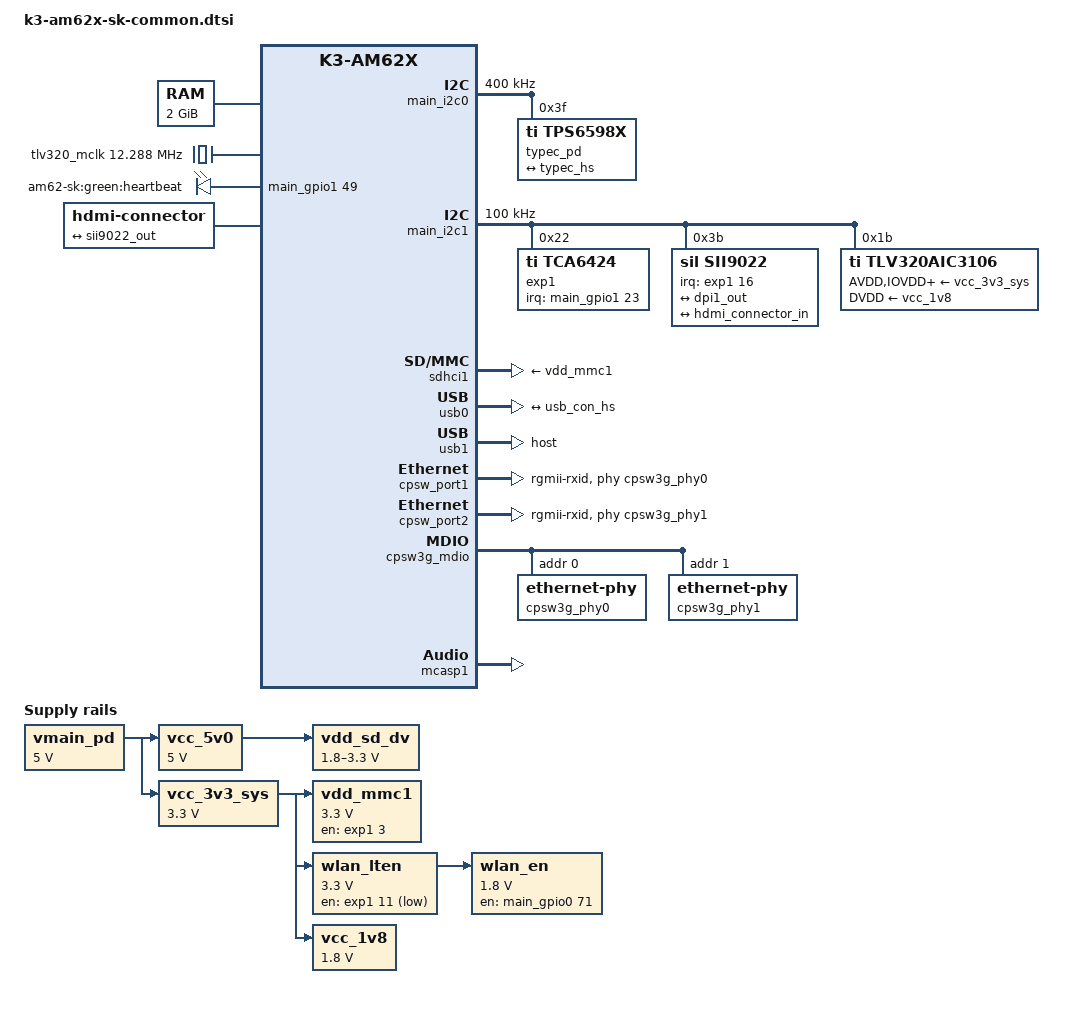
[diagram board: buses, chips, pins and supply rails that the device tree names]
// SPDX-License-Identifier: GPL-2.0
/*
 * Common dtsi for AM62x SK and derivatives
 *
 * Copyright (C) 2021-2022 Texas Instruments Incorporated - https://www.ti.com/
 */

/ {
	aliases {
		serial2 = &main_uart0;
		mmc0 = &sdhci0;
		mmc1 = &sdhci1;
		mmc2 = &sdhci2;
		spi0 = &ospi0;
		usb0 = &usb0;
		usb1 = &usb1;
		ethernet0 = &cpsw_port1;
		ethernet1 = &cpsw_port2;
	};

	chosen {
		stdout-path = "serial2:115200n8";
		bootargs = "console=ttyS2,115200n8 earlycon=ns16550a,mmio32,0x02800000";
	};

	opp-table {
		/* Add 1.4GHz OPP for am625-sk board. Requires VDD_CORE to be at 0.85V */
		opp-1400000000 {
			opp-hz = /bits/ 64 <1400000000>;
			opp-supported-hw = <0x01 0x0004>;
			clock-latency-ns = <6000000>;
		};
	};

	memory@80000000 {
		device_type = "memory";
		/* 2G RAM */
		reg = <0x00000000 0x80000000 0x00000000 0x80000000>;

	};

	reserved-memory {
		#address-cells = <2>;
		#size-cells = <2>;
		ranges;

		secure_tfa_ddr: tfa@9e780000 {
			reg = <0x00 0x9e780000 0x00 0x80000>;
			alignment = <0x1000>;
			no-map;
		};

		secure_ddr: optee@9e800000 {
			reg = <0x00 0x9e800000 0x00 0x01800000>; /* for OP-TEE */
			alignment = <0x1000>;
			no-map;
		};

		wkup_r5fss0_core0_dma_memory_region: r5f-dma-memory@9db00000 {
			compatible = "shared-dma-pool";
			reg = <0x00 0x9db00000 0x00 0xc00000>;
			no-map;
		};

		mcu_m4fss_dma_memory_region: m4f-dma-memory@9cb00000 {
			compatible = "shared-dma-pool";
			reg = <0x00 0x9cb00000 0x00 0x100000>;
			no-map;
		};

		mcu_m4fss_memory_region: m4f-memory@9cc00000 {
			compatible = "shared-dma-pool";
			reg = <0x00 0x9cc00000 0x00 0xf00000>;
			no-map;
		};

		lpm_ctx_ddr: lpm-memory@a1000000 {
			reg = <0x00 0xa1000000 0x00 0x40000>;
			alignment = <0x1000>;
		};
	};

	vmain_pd: regulator-0 {
		/* TPS65988 PD CONTROLLER OUTPUT */
		compatible = "regulator-fixed";
		regulator-name = "vmain_pd";
		regulator-min-microvolt = <5000000>;
		regulator-max-microvolt = <5000000>;
		regulator-always-on;
		regulator-boot-on;
	};

	vcc_5v0: regulator-1 {
		/* Output of TPS630702 */
		compatible = "regulator-fixed";
		regulator-name = "vcc_5v0";
		regulator-min-microvolt = <5000000>;
		regulator-max-microvolt = <5000000>;
		vin-supply = <&vmain_pd>;
		regulator-always-on;
		regulator-boot-on;
	};

	vcc_3v3_sys: regulator-2 {
		/* output of LM61460-Q1 */
		compatible = "regulator-fixed";
		regulator-name = "vcc_3v3_sys";
		regulator-min-microvolt = <3300000>;
		regulator-max-microvolt = <3300000>;
		vin-supply = <&vmain_pd>;
		regulator-always-on;
		regulator-boot-on;
	};

	vdd_mmc1: regulator-3 {
		/* TPS22918DBVR */
		compatible = "regulator-fixed";
		regulator-name = "vdd_mmc1";
		regulator-min-microvolt = <3300000>;
		regulator-max-microvolt = <3300000>;
		regulator-boot-on;
		enable-active-high;
		vin-supply = <&vcc_3v3_sys>;
		gpio = <&exp1 3 GPIO_ACTIVE_HIGH>;
	};

	vdd_sd_dv: regulator-4 {
		/* Output of TLV71033 */
		compatible = "regulator-gpio";
		regulator-name = "tlv71033";
		pinctrl-names = "default";
		pinctrl-0 = <&vdd_sd_dv_pins_default>;
		regulator-min-microvolt = <1800000>;
		regulator-max-microvolt = <3300000>;
		regulator-boot-on;
		vin-supply = <&vcc_5v0>;
		gpios = <&main_gpio0 31 GPIO_ACTIVE_HIGH>;
		states = <1800000 0x0>,
			 <3300000 0x1>;
	};

	wlan_lten: regulator-5 {
		compatible = "regulator-fixed";
		regulator-name = "wlan_lten";
		regulator-min-microvolt = <3300000>;
		regulator-max-microvolt = <3300000>;
		regulator-always-on;
		vin-supply = <&vcc_3v3_sys>;
		gpios = <&exp1 11 GPIO_ACTIVE_LOW>;
	};

	wlan_en: regulator-6 {
		/* OUTPUT of SN74AVC2T244DQMR */
		compatible = "regulator-fixed";
		regulator-name = "wlan_en";
		regulator-min-microvolt = <1800000>;
		regulator-max-microvolt = <1800000>;
		enable-active-high;
		regulator-always-on;
		vin-supply = <&wlan_lten>;
		gpios = <&main_gpio0 71 GPIO_ACTIVE_HIGH>;
		pinctrl-names = "default";
		pinctrl-0 = <&wlan_en_pins_default>;
	};

	vcc_1v8: regulator-7 {
		/* output of TPS6282518DMQ */
		compatible = "regulator-fixed";
		regulator-name = "vcc_1v8";
		regulator-min-microvolt = <1800000>;
		regulator-max-microvolt = <1800000>;
		vin-supply = <&vcc_3v3_sys>;
		regulator-always-on;
		regulator-boot-on;
	};

	tlv320_mclk: clk-0 {
		#clock-cells = <0>;
		compatible = "fixed-clock";
		clock-frequency = <12288000>;
	};

	sound {
		compatible = "simple-audio-card";
		simple-audio-card,name = "AM62x-SKEVM";
		simple-audio-card,widgets =
			"Headphone", "Headphone Jack";
		simple-audio-card,routing =
			"Headphone Jack",	"HPLOUT",
			"Headphone Jack",	"HPROUT";
		simple-audio-card,format = "dsp_b";
		simple-audio-card,bitclock-master = <&sound_master>;
		simple-audio-card,frame-master = <&sound_master>;
		simple-audio-card,bitclock-inversion;

		simple-audio-card,cpu {
			sound-dai = <&mcasp1>;
		};

		sound_master: simple-audio-card,codec {
			sound-dai = <&tlv320aic3106>;
			clocks = <&tlv320_mclk>;
		};
	};

	leds {
		compatible = "gpio-leds";
		pinctrl-names = "default";
		pinctrl-0 = <&usr_led_pins_default>;

		led-0 {
			label = "am62-sk:green:heartbeat";
			gpios = <&main_gpio1 49 GPIO_ACTIVE_HIGH>;
			linux,default-trigger = "heartbeat";
			function = LED_FUNCTION_HEARTBEAT;
			default-state = "off";
		};
	};

	hdmi_mstrclk: hdmi-mstrclk {
		compatible = "fixed-clock";
		#clock-cells = <0>;
		clock-frequency = <12288000>;
	};

	hdmi: connector {
		compatible = "hdmi-connector";
		label = "hdmi";
		type = "a";
		port {
			hdmi_connector_in: endpoint {
				remote-endpoint = <&sii9022_out>;
			};
		};
	};
};

&main_pmx0 {
	main_uart0_pins_default: main-uart0-pins-default {
		pinctrl-single,pins = <
			AM62X_IOPAD(0x1c8, PIN_INPUT, 0) /* (D14) UART0_RXD */
			AM62X_IOPAD(0x1cc, PIN_OUTPUT, 0) /* (E14) UART0_TXD */
		>;
	};

	main_i2c0_pins_default: main-i2c0-pins-default {
		pinctrl-single,pins = <
			AM62X_IOPAD(0x1e0, PIN_INPUT_PULLUP, 0) /* (B16) I2C0_SCL */
			AM62X_IOPAD(0x1e4, PIN_INPUT_PULLUP, 0) /* (A16) I2C0_SDA */
		>;
	};

	main_i2c1_pins_default: main-i2c1-pins-default {
		pinctrl-single,pins = <
			AM62X_IOPAD(0x1e8, PIN_INPUT_PULLUP, 0) /* (B17) I2C1_SCL */
			AM62X_IOPAD(0x1ec, PIN_INPUT_PULLUP, 0) /* (A17) I2C1_SDA */
		>;
	};

	main_i2c2_pins_default: main-i2c2-pins-default {
		pinctrl-single,pins = <
			AM62X_IOPAD(0x0b0, PIN_INPUT_PULLUP, 1) /* (K22) GPMC0_CSn2.I2C2_SCL */
			AM62X_IOPAD(0x0b4, PIN_INPUT_PULLUP, 1) /* (K24) GPMC0_CSn3.I2C2_SDA */
		>;
	};

	main_mmc0_pins_default: main-mmc0-pins-default {
		pinctrl-single,pins = <
			AM62X_IOPAD(0x220, PIN_INPUT, 0) /* (Y3) MMC0_CMD */
			AM62X_IOPAD(0x218, PIN_INPUT, 0) /* (AB1) MMC0_CLK */
			AM62X_IOPAD(0x214, PIN_INPUT, 0) /* (AA2) MMC0_DAT0 */
			AM62X_IOPAD(0x210, PIN_INPUT, 0) /* (AA1) MMC0_DAT1 */
			AM62X_IOPAD(0x20c, PIN_INPUT, 0) /* (AA3) MMC0_DAT2 */
			AM62X_IOPAD(0x208, PIN_INPUT, 0) /* (Y4) MMC0_DAT3 */
			AM62X_IOPAD(0x204, PIN_INPUT, 0) /* (AB2) MMC0_DAT4 */
			AM62X_IOPAD(0x200, PIN_INPUT, 0) /* (AC1) MMC0_DAT5 */
			AM62X_IOPAD(0x1fc, PIN_INPUT, 0) /* (AD2) MMC0_DAT6 */
			AM62X_IOPAD(0x1f8, PIN_INPUT, 0) /* (AC2) MMC0_DAT7 */
		>;
	};

	main_mmc1_pins_default: main-mmc1-pins-default {
		pinctrl-single,pins = <
			AM62X_IOPAD(0x23c, PIN_INPUT, 0) /* (A21) MMC1_CMD */
			AM62X_IOPAD(0x234, PIN_INPUT, 0) /* (B22) MMC1_CLK */
			AM62X_IOPAD(0x230, PIN_INPUT, 0) /* (A22) MMC1_DAT0 */
			AM62X_IOPAD(0x22c, PIN_INPUT, 0) /* (B21) MMC1_DAT1 */
			AM62X_IOPAD(0x228, PIN_INPUT, 0) /* (C21) MMC1_DAT2 */
			AM62X_IOPAD(0x224, PIN_INPUT, 0) /* (D22) MMC1_DAT3 */
			AM62X_IOPAD(0x240, PIN_INPUT, 0) /* (D17) MMC1_SDCD */
		>;
	};

	wlan_en_pins_default: wlan-en-pins-default {
		pinctrl-single,pins = <
			AM62X_IOPAD(0x124, PIN_OUTPUT, 7) /* (A23) MMC2_SDCD.GPIO0_71 */
		>;
	};

	main_mmc2_pins_default: main-mmc2-pins-default {
		pinctrl-single,pins = <
			AM62X_IOPAD(0x120, PIN_INPUT, 0) /* (C24) MMC2_CMD */
			AM62X_IOPAD(0x118, PIN_INPUT, 0) /* (D25) MMC2_CLK */
			AM62X_IOPAD(0x114, PIN_INPUT, 0) /* (B24) MMC2_DAT0 */
			AM62X_IOPAD(0x110, PIN_INPUT, 0) /* (C25) MMC2_DAT1 */
			AM62X_IOPAD(0x10c, PIN_INPUT, 0) /* (E23) MMC2_DAT2 */
			AM62X_IOPAD(0x108, PIN_INPUT, 0) /* (D24) MMC2_DAT3 */
			AM62X_IOPAD(0x11c, PIN_INPUT, 0) /* (#N/A) MMC2_CLKB */
		>;
	};

	main_wlirq_pins_default: main-wlirq-pins-default {
		pinctrl-single,pins = <
			AM62X_IOPAD(0x128, PIN_INPUT, 7) /* (B23) MMC2_SDWP.GPIO0_72 */
		>;
	};

	usr_led_pins_default: usr-led-pins-default {
		pinctrl-single,pins = <
			AM62X_IOPAD(0x244, PIN_OUTPUT, 7) /* (C17) MMC1_SDWP.GPIO1_49 */
		>;
	};

	main_mdio1_pins_default: main-mdio1-pins-default {
		pinctrl-single,pins = <
			AM62X_IOPAD(0x160, PIN_OUTPUT, 0) /* (AD24) MDIO0_MDC */
			AM62X_IOPAD(0x15c, PIN_INPUT, 0) /* (AB22) MDIO0_MDIO */
		>;
	};

	main_rgmii1_pins_default: main-rgmii1-pins-default {
		pinctrl-single,pins = <
			AM62X_IOPAD(0x14c, PIN_INPUT, 0) /* (AB17) RGMII1_RD0 */
			AM62X_IOPAD(0x150, PIN_INPUT, 0) /* (AC17) RGMII1_RD1 */
			AM62X_IOPAD(0x154, PIN_INPUT, 0) /* (AB16) RGMII1_RD2 */
			AM62X_IOPAD(0x158, PIN_INPUT, 0) /* (AA15) RGMII1_RD3 */
			AM62X_IOPAD(0x148, PIN_INPUT, 0) /* (AD17) RGMII1_RXC */
			AM62X_IOPAD(0x144, PIN_INPUT, 0) /* (AE17) RGMII1_RX_CTL */
			AM62X_IOPAD(0x134, PIN_OUTPUT, 0) /* (AE20) RGMII1_TD0 */
			AM62X_IOPAD(0x138, PIN_OUTPUT, 0) /* (AD20) RGMII1_TD1 */
			AM62X_IOPAD(0x13c, PIN_OUTPUT, 0) /* (AE18) RGMII1_TD2 */
			AM62X_IOPAD(0x140, PIN_OUTPUT, 0) /* (AD18) RGMII1_TD3 */
			AM62X_IOPAD(0x130, PIN_OUTPUT, 0) /* (AE19) RGMII1_TXC */
			AM62X_IOPAD(0x12c, PIN_OUTPUT, 0) /* (AD19) RGMII1_TX_CTL */
		>;
	};

	main_rgmii2_pins_default: main-rgmii2-pins-default {
		pinctrl-single,pins = <
			AM62X_IOPAD(0x184, PIN_INPUT, 0) /* (AE23) RGMII2_RD0 */
			AM62X_IOPAD(0x188, PIN_INPUT, 0) /* (AB20) RGMII2_RD1 */
			AM62X_IOPAD(0x18c, PIN_INPUT, 0) /* (AC21) RGMII2_RD2 */
			AM62X_IOPAD(0x190, PIN_INPUT, 0) /* (AE22) RGMII2_RD3 */
			AM62X_IOPAD(0x180, PIN_INPUT, 0) /* (AD23) RGMII2_RXC */
			AM62X_IOPAD(0x17c, PIN_INPUT, 0) /* (AD22) RGMII2_RX_CTL */
			AM62X_IOPAD(0x16c, PIN_OUTPUT, 0) /* (Y18) RGMII2_TD0 */
			AM62X_IOPAD(0x170, PIN_OUTPUT, 0) /* (AA18) RGMII2_TD1 */
			AM62X_IOPAD(0x174, PIN_OUTPUT, 0) /* (AD21) RGMII2_TD2 */
			AM62X_IOPAD(0x178, PIN_OUTPUT, 0) /* (AC20) RGMII2_TD3 */
			AM62X_IOPAD(0x168, PIN_OUTPUT, 0) /* (AE21) RGMII2_TXC */
			AM62X_IOPAD(0x164, PIN_OUTPUT, 0) /* (AA19) RGMII2_TX_CTL */
		>;
	};

	ospi0_pins_default: ospi0-pins-default {
		pinctrl-single,pins = <
			AM62X_IOPAD(0x000, PIN_OUTPUT, 0) /* (H24) OSPI0_CLK */
			AM62X_IOPAD(0x02c, PIN_OUTPUT, 0) /* (F23) OSPI0_CSn0 */
			AM62X_IOPAD(0x00c, PIN_INPUT, 0) /* (E25) OSPI0_D0 */
			AM62X_IOPAD(0x010, PIN_INPUT, 0) /* (G24) OSPI0_D1 */
			AM62X_IOPAD(0x014, PIN_INPUT, 0) /* (F25) OSPI0_D2 */
			AM62X_IOPAD(0x018, PIN_INPUT, 0) /* (F24) OSPI0_D3 */
			AM62X_IOPAD(0x01c, PIN_INPUT, 0) /* (J23) OSPI0_D4 */
			AM62X_IOPAD(0x020, PIN_INPUT, 0) /* (J25) OSPI0_D5 */
			AM62X_IOPAD(0x024, PIN_INPUT, 0) /* (H25) OSPI0_D6 */
			AM62X_IOPAD(0x028, PIN_INPUT, 0) /* (J22) OSPI0_D7 */
			AM62X_IOPAD(0x008, PIN_INPUT, 0) /* (J24) OSPI0_DQS */
		>;
	};

	main_dss0_pins_default: main-dss0-pins-default {
		pinctrl-single,pins = <
			AM62X_IOPAD(0x0100, PIN_OUTPUT, 0) /* (AC25) VOUT0_VSYNC */
			AM62X_IOPAD(0x00f8, PIN_OUTPUT, 0) /* (AB24) VOUT0_HSYNC */
			AM62X_IOPAD(0x0104, PIN_OUTPUT, 0) /* (AC24) VOUT0_PCLK */
			AM62X_IOPAD(0x00fc, PIN_OUTPUT, 0) /* (Y20) VOUT0_DE */
			AM62X_IOPAD(0x00b8, PIN_OUTPUT, 0) /* (U22) VOUT0_DATA0 */
			AM62X_IOPAD(0x00bc, PIN_OUTPUT, 0) /* (V24) VOUT0_DATA1 */
			AM62X_IOPAD(0x00c0, PIN_OUTPUT, 0) /* (W25) VOUT0_DATA2 */
			AM62X_IOPAD(0x00c4, PIN_OUTPUT, 0) /* (W24) VOUT0_DATA3 */
			AM62X_IOPAD(0x00c8, PIN_OUTPUT, 0) /* (Y25) VOUT0_DATA4 */
			AM62X_IOPAD(0x00cc, PIN_OUTPUT, 0) /* (Y24) VOUT0_DATA5 */
			AM62X_IOPAD(0x00d0, PIN_OUTPUT, 0) /* (Y23) VOUT0_DATA6 */
			AM62X_IOPAD(0x00d4, PIN_OUTPUT, 0) /* (AA25) VOUT0_DATA7 */
			AM62X_IOPAD(0x00d8, PIN_OUTPUT, 0) /* (V21) VOUT0_DATA8 */
			AM62X_IOPAD(0x00dc, PIN_OUTPUT, 0) /* (W21) VOUT0_DATA9 */
			AM62X_IOPAD(0x00e0, PIN_OUTPUT, 0) /* (V20) VOUT0_DATA10 */
			AM62X_IOPAD(0x00e4, PIN_OUTPUT, 0) /* (AA23) VOUT0_DATA11 */
			AM62X_IOPAD(0x00e8, PIN_OUTPUT, 0) /* (AB25) VOUT0_DATA12 */
			AM62X_IOPAD(0x00ec, PIN_OUTPUT, 0) /* (AA24) VOUT0_DATA13 */
			AM62X_IOPAD(0x00f0, PIN_OUTPUT, 0) /* (Y22) VOUT0_DATA14 */
			AM62X_IOPAD(0x00f4, PIN_OUTPUT, 0) /* (AA21) VOUT0_DATA15 */
			AM62X_IOPAD(0x005c, PIN_OUTPUT, 1) /* (R24) GPMC0_AD8.VOUT0_DATA16 */
			AM62X_IOPAD(0x0060, PIN_OUTPUT, 1) /* (R25) GPMC0_AD9.VOUT0_DATA17 */
			AM62X_IOPAD(0x0064, PIN_OUTPUT, 1) /* (T25) GPMC0_AD10.VOUT0_DATA18 */
			AM62X_IOPAD(0x0068, PIN_OUTPUT, 1) /* (R21) GPMC0_AD11.VOUT0_DATA19 */
			AM62X_IOPAD(0x006c, PIN_OUTPUT, 1) /* (T22) GPMC0_AD12.VOUT0_DATA20 */
			AM62X_IOPAD(0x0070, PIN_OUTPUT, 1) /* (T24) GPMC0_AD13.VOUT0_DATA21 */
			AM62X_IOPAD(0x0074, PIN_OUTPUT, 1) /* (U25) GPMC0_AD14.VOUT0_DATA22 */
			AM62X_IOPAD(0x0078, PIN_OUTPUT, 1) /* (U24) GPMC0_AD15.VOUT0_DATA23 */
		>;
	};

	vdd_sd_dv_pins_default: vdd-sd-dv-pins-default {
		pinctrl-single,pins = <
			AM62X_IOPAD(0x07c, PIN_OUTPUT, 7) /* (P25) GPMC0_CLK.GPIO0_31 */
		>;
	};

	main_gpio1_ioexp_intr_pins_default: main-gpio1-ioexp-intr-pins-default {
		pinctrl-single,pins = <
			AM62X_IOPAD(0x01d4, PIN_INPUT, 7) /* (B15) UART0_RTSn.GPIO1_23 */
		>;
	};

	main_usb1_pins_default: main-usb1-pins-default {
		pinctrl-single,pins = <
			AM62X_IOPAD(0x0258, PIN_OUTPUT, 0) /* (F18) USB1_DRVVBUS */
		>;
	};

	main_mcasp1_pins_default: main-mcasp1-pins-default {
		pinctrl-single,pins = <
			AM62X_IOPAD(0x0090, PIN_INPUT, 2) /* (M24) GPMC0_BE0N_CLE.MCASP1_ACLKX */
			AM62X_IOPAD(0x0098, PIN_INPUT, 2) /* (U23) GPMC0_WAIT0.MCASP1_AFSX */
			AM62X_IOPAD(0x008c, PIN_OUTPUT, 2) /* (L25) GPMC0_WEN.MCASP1_AXR0 */
			AM62X_IOPAD(0x0084, PIN_INPUT, 2) /* (L23) GPMC0_ADVN_ALE.MCASP1_AXR2 */
		>;
	};
};

&wkup_uart0 {
	/* WKUP UART0 is used by DM firmware */
	status = "reserved";
};

&mcu_uart0 {
	status = "disabled";
};

&main_uart0 {
	pinctrl-names = "default";
	pinctrl-0 = <&main_uart0_pins_default>;
};

&main_uart1 {
	/* Main UART1 is used by TIFS firmware */
	status = "reserved";
};

&main_uart2 {
	status = "disabled";
};

&main_uart3 {
	status = "disabled";
};

&main_uart4 {
	status = "disabled";
};

&main_uart5 {
	status = "disabled";
};

&main_uart6 {
	status = "disabled";
};

&mcu_i2c0 {
	status = "disabled";
};

&wkup_i2c0 {
	status = "disabled";
};

&main_i2c0 {
	pinctrl-names = "default";
	pinctrl-0 = <&main_i2c0_pins_default>;
	clock-frequency = <400000>;

	typec_pd: usb-pd@3f {
		compatible = "ti,tps6598x";
		reg = <0x3f>;

		connector {
			ports {
				#address-cells = <1>;
				#size-cells = <0>;

				port@1 {
					reg = <1>;

					usb_con_hs: endpoint {
						remote-endpoint = <&typec_hs>;
					};
				};
			};
		};
	};
};

&main_i2c1 {
	pinctrl-names = "default";
	pinctrl-0 = <&main_i2c1_pins_default>;
	clock-frequency = <100000>;

	exp1: gpio@22 {
		compatible = "ti,tca6424";
		reg = <0x22>;
		gpio-controller;
		#gpio-cells = <2>;
		gpio-line-names = "GPIO_CPSW2_RST", "GPIO_CPSW1_RST",
				   "PRU_DETECT", "MMC1_SD_EN",
				   "VPP_LDO_EN", "EXP_PS_3V3_En",
				   "EXP_PS_5V0_En", "EXP_HAT_DETECT",
				   "GPIO_AUD_RSTn", "GPIO_eMMC_RSTn",
				   "UART1_FET_BUF_EN", "WL_LT_EN",
				   "GPIO_HDMI_RSTn", "CSI_GPIO1",
				   "CSI_GPIO2", "PRU_3V3_EN",
				   "HDMI_INTn", "TEST_GPIO2",
				   "MCASP1_FET_EN", "MCASP1_BUF_BT_EN",
				   "MCASP1_FET_SEL", "UART1_FET_SEL",
				   "TSINT#", "IO_EXP_TEST_LED";

		interrupt-parent = <&main_gpio1>;
		interrupts = <23 IRQ_TYPE_EDGE_FALLING>;
		interrupt-controller;
		#interrupt-cells = <2>;

		pinctrl-names = "default";
		pinctrl-0 = <&main_gpio1_ioexp_intr_pins_default>;
	};

	sii9022: sii9022@3b {
		compatible = "sil,sii9022";
		reg = <0x3b>;

		clocks = <&hdmi_mstrclk>;
		clock-names = "mclk";

		interrupt-parent = <&exp1>;
		interrupts = <16 IRQ_TYPE_EDGE_FALLING>;

		ports {
			#address-cells = <1>;
			#size-cells = <0>;

			port@0 {
				reg = <0>;

				sii9022_in: endpoint {
					remote-endpoint = <&dpi1_out>;
				};
			};

			port@1 {
				reg = <1>;

				sii9022_out: endpoint {
					remote-endpoint = <&hdmi_connector_in>;
				};
			};
		};
	};

	tlv320aic3106: audio-codec@1b {
		#sound-dai-cells = <0>;
		compatible = "ti,tlv320aic3106";
		reg = <0x1b>;

		/* Regulators */
		AVDD-supply = <&vcc_3v3_sys>;
		IOVDD-supply = <&vcc_3v3_sys>;
		DRVDD-supply = <&vcc_3v3_sys>;
		DVDD-supply = <&vcc_1v8>;
	};
};

&main_i2c2 {
	status = "disabled";
};

&main_i2c3 {
	status = "disabled";
};

&sdhci0 {
	pinctrl-names = "default";
	pinctrl-0 = <&main_mmc0_pins_default>;
	ti,driver-strength-ohm = <50>;
	disable-wp;
};

&sdhci1 {
	/* SD/MMC */
	vmmc-supply = <&vdd_mmc1>;
	vqmmc-supply = <&vdd_sd_dv>;
	pinctrl-names = "default";
	pinctrl-0 = <&main_mmc1_pins_default>;
	ti,driver-strength-ohm = <50>;
	disable-wp;
	no-1-8-v;
};

&usbss0 {
	ti,vbus-divider;
};

&usb0 {
	#address-cells = <1>;
	#size-cells = <0>;
	usb-role-switch;

	port@1 {
		reg = <1>;

		typec_hs: endpoint {
			remote-endpoint = <&usb_con_hs>;
		};
	};
};

&usb1 {
	dr_mode = "host";
	pinctrl-names = "default";
	pinctrl-0 = <&main_usb1_pins_default>;
};

&cpsw3g {
	pinctrl-names = "default";
	pinctrl-0 = <&main_mdio1_pins_default
		     &main_rgmii1_pins_default
		     &main_rgmii2_pins_default>;
};

&cpsw_port1 {
	phy-mode = "rgmii-rxid";
	phy-handle = <&cpsw3g_phy0>;
};

&cpsw_port2 {
	phy-mode = "rgmii-rxid";
	phy-handle = <&cpsw3g_phy1>;
};

&cpsw3g_mdio {
	cpsw3g_phy0: ethernet-phy@0 {
		reg = <0>;
		ti,rx-internal-delay = <DP83867_RGMIIDCTL_2_00_NS>;
		ti,fifo-depth = <DP83867_PHYCR_FIFO_DEPTH_4_B_NIB>;
		ti,min-output-impedance;
	};

	cpsw3g_phy1: ethernet-phy@1 {
		reg = <1>;
		ti,rx-internal-delay = <DP83867_RGMIIDCTL_2_00_NS>;
		ti,fifo-depth = <DP83867_PHYCR_FIFO_DEPTH_4_B_NIB>;
		ti,min-output-impedance;
	};
};

&dss {
	pinctrl-names = "default";
	pinctrl-0 = <&main_dss0_pins_default>;
};

&dss_ports {
	#address-cells = <1>;
	#size-cells = <0>;

	/* VP2: DPI Output */
	port@1 {
		reg = <1>;

		dpi1_out: endpoint {
			remote-endpoint = <&sii9022_in>;
		};
	};
};

&mcasp0 {
	status = "disabled";
};

&mcasp1 {
	status = "okay";
	#sound-dai-cells = <0>;

	pinctrl-names = "default";
	pinctrl-0 = <&main_mcasp1_pins_default>;

	op-mode = <0>;          /* MCASP_IIS_MODE */
	tdm-slots = <2>;

	serial-dir = <  /* 0: INACTIVE, 1: TX, 2: RX */
	       1 0 0 0
	       0 0 0 0
	       0 0 0 0
	       0 0 0 0
	>;
	tx-num-evt = <32>;
	rx-num-evt = <32>;
};

&mcasp2 {
	status = "disabled";
};

&mailbox0_cluster0 {
	mbox_m4_0: mbox-m4-0 {
		ti,mbox-rx = <0 0 0>;
		ti,mbox-tx = <1 0 0>;
	};
};

&ospi0 {
	pinctrl-names = "default";
	pinctrl-0 = <&ospi0_pins_default>;
};

&mcu_m4fss {
	mboxes = <&mailbox0_cluster0 &mbox_m4_0>;
	memory-region = <&mcu_m4fss_dma_memory_region>,
			<&mcu_m4fss_memory_region>;
};

&main_mcan0 {
	status = "disabled";
};

&mcu_rti0 {
	/* MCU RTI0 is used by M4F firmware */
	status = "reserved";
};

&wkup_rti0 {
	/* WKUP RTI0 is used by DM firmware */
	status = "reserved";
};

&epwm0 {
	status = "disabled";
};

&epwm1 {
	status = "disabled";
};

&epwm2 {
	status = "disabled";
};

&ecap0 {
	status = "disabled";
};

&ecap1 {
	status = "disabled";
};

&ecap2 {
	status = "disabled";
};
